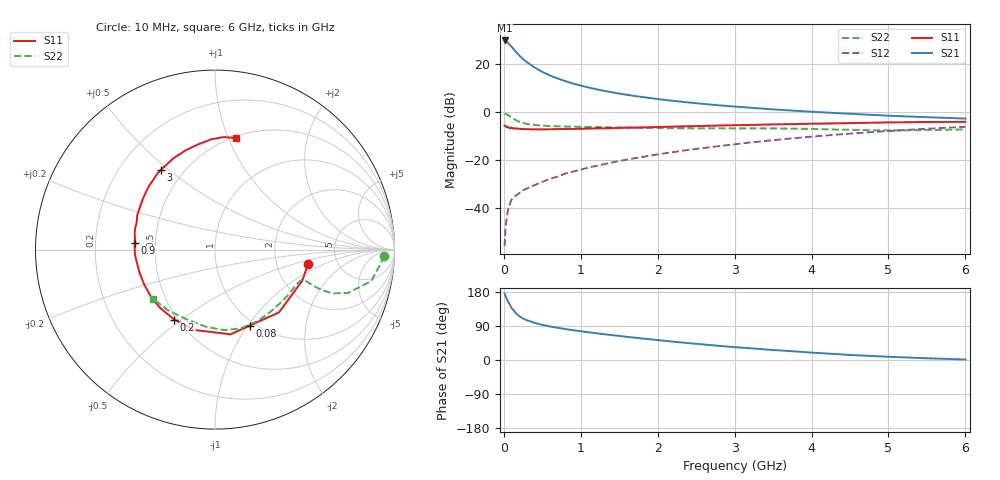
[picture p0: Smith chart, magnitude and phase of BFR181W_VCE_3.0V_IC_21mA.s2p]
! Infineon Technologies  Discrete & RF Semiconductors
! BFR181W
! VCE =  3.0 V,  IC =  21 mA
! Common Emitter S-Parameters:  Jan 2017
# GHz  S  MA  R  50
!  f  S11  S21  S12  S22
! GHz  MAG  ANG  MAG  ANG  MAG  ANG  MAG  ANG
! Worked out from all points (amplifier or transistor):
!   77 points, 10 MHz to 6 GHz, reference 50 ohm
!   highest |S21| = 30.0 dB at 10 MHz (marker M1)
!   |S21| within 3 dB of that: start of sweep to 111 MHz
!   unconditionally stable (mu >= 1): 392.3 MHz to 2.653 GHz
!   at 130 MHz: K = 0.52, MSG = 30.9 dB, |S12| = -35.5 dB
!   at 2.2 GHz: K = 1.07, MAG = 9.1 dB, |S12| = -16.6 dB
!   at 6 GHz: K = 0.90, MSG = 1.7 dB, |S12| = -6.1 dB
!   S11 on the Smith chart (normalised r, x): 10 MHz: 3.06, -0.66; 80 MHz: 0.95, -1.02; 200 MHz: 0.48, -0.47; 900 MHz: 0.38, +0.03; 3 GHz: 0.38, +0.47; 6 GHz: 0.51, +1.06
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0.01  0.5257 -8.6  31.63 175.4  0.0016 88.3  0.9412 -2.1
0.02  0.5158 -19.8  31.14 169.7  0.0034 82.7  0.9289 -4.5
0.05  0.4993 -44.5  28.78 155.7  0.0084 72.9  0.8882 -11.4
0.08  0.4656 -65.3  25.26 145.3  0.0123 66.3  0.8212 -15.2
0.1  0.4797 -79.6  23.48 136.9  0.015 63.9  0.7788 -18.1
0.15  0.4618 -104.0  18.91 124.6  0.0179 59.2  0.6942 -20.5
0.2  0.4511 -120.3  15.42 115.7  0.0205 60.1  0.6363 -20.7
0.25  0.4459 -132.9  12.94 109.4  0.0235 58.6  0.599 -20.4
0.3  0.4451 -141.8  11.09 104.7  0.0256 59.7  0.5723 -19.9
0.4  0.44 -154.4  8.598 97.8  0.0301 63.9  0.5428 -19.2
0.5  0.4397 -163.4  6.974 92.7  0.0352 66.0  0.5267 -19.0
0.6  0.441 -170.1  5.876 88.5  0.0408 67.8  0.5165 -19.2
0.7  0.4462 -175.5  5.072 85.0  0.0454 70.4  0.5099 -19.7
0.9  0.4491 175.4  3.981 78.6  0.0577 72.8  0.5 -21.6
1.1  0.457 168.2  3.297 73.3  0.0702 75.0  0.4933 -24.0
1.5  0.4731 156.5  2.459 63.5  0.096 76.4  0.4808 -30.0
2.1  0.4972 141.8  1.811 50.5  0.1396 76.1  0.4672 -41.6
3  0.5373 123.9  1.315 33.8  0.2147 71.3  0.4619 -61.5
3.1  0.5404 122.0  1.28 32.5  0.224 70.4  0.4606 -63.6
4.1  0.5803 104.7  1.007 18.3  0.3194 61.4  0.4457 -86.3
5.1  0.6171 90.6  0.836 7.7  0.4157 50.1  0.4185 -115.4
6  0.6326 79.5  0.739 1.3  0.4981 39.3  0.4409 -141.4
